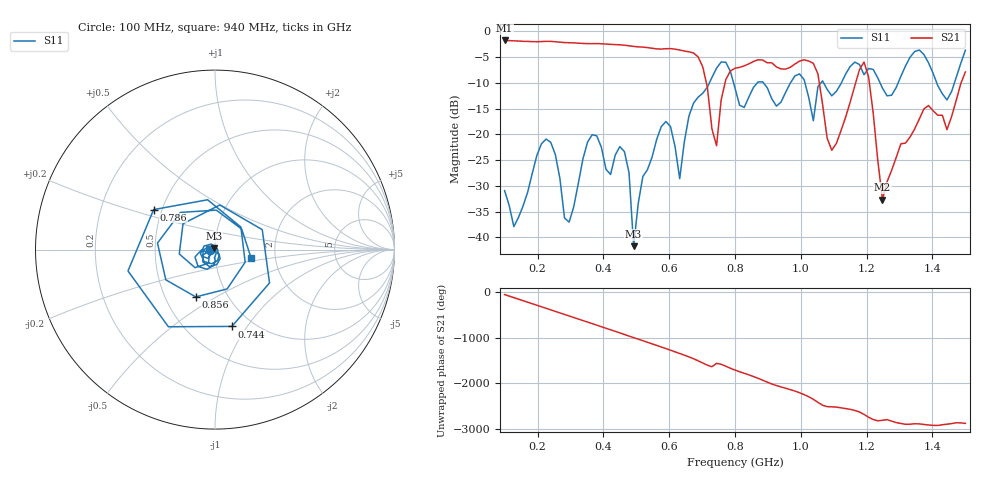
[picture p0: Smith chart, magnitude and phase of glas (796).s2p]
! NanoVNA-App
! Date: 2025-09-25 16:01:40
! Start: 100MHz Stop: 1,5GHz Points: 101
! S-Parameter data: F S11 S21 S12 S22
# Hz S RI R 50
!  Frequency  S11_Real  S11_Imag  S21_Real  S21_Imag  S12_Real  S12_Imag  S22_Real  S22_Imag
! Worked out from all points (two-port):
!   101 points, 100 MHz to 1.5 GHz, reference 50 ohm
!   highest |S21| = -1.80 dB at 100 MHz (marker M1); lowest = -32.7 dB at 1.248 GHz (marker M2)
!   |S21| within 3 dB of the highest: start of sweep to 684.4 MHz
!   lowest |S11| = -41.7 dB at 492 MHz (marker M3), VSWR 1.02, Z = 49.5 + j0.613 ohm
!   |S11| at or under -10 dB: start of sweep to 722.4 MHz; 795.5 MHz to 868.1 MHz (72.52 MHz wide, 8.72 % of centre); 886.1 MHz to 968.8 MHz (82.67 MHz wide, 8.91 % of centre) (the widest 3 of 7)
!   S12 and S22 are empty: the file has one direction only
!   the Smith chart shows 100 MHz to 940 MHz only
!   S11 on the Smith chart (normalised r, x): 100 MHz: 0.94, -0.01; 744 MHz: 0.80, -0.85; 786 MHz: 0.45, +0.24; 856 MHz: 0.71, -0.41; 940 MHz: 1.49, -0.14
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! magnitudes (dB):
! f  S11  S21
! 100 MHz  -30.9  -1.8
! 128 MHz  -37.9  -1.9
! 226 MHz  -20.9  -2.0
! 296 MHz  -37.0  -2.2
! 338 MHz  -24.8  -2.4
! 464 MHz  -23.4  -2.7
! 492 MHz  -41.7  -3.0
! 576 MHz  -18.5  -3.5
! 632 MHz  -28.6  -3.7
! 702 MHz  -12.0  -6.9
! 744 MHz  -7.2  -22.2
! 786 MHz  -7.8  -7.7
! 800 MHz  -11.0  -7.2
! 856 MHz  -10.9  -5.9
! 940 MHz  -13.7  -7.3
! 996 MHz  -8.3  -5.8
! 1.038 GHz  -17.4  -6.2
! 1.094 GHz  -12.5  -23.1
! 1.192 GHz  -8.4  -6.0
! 1.248 GHz  -11.0  -32.7
! 1.276 GHz  -12.4  -27.0
! 1.5 GHz  -3.7  -7.9
